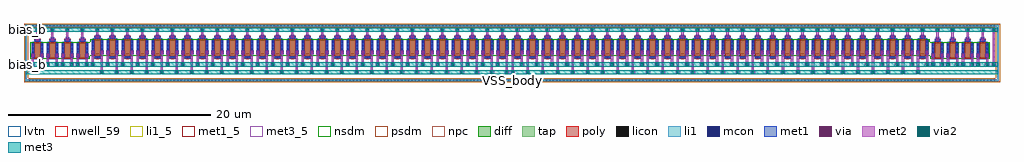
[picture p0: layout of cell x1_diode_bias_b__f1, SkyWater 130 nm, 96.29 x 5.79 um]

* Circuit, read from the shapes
.subckt x1_diode_bias_b__f1 VSS_body bias_b bias_c
XM1 bias_b bias_b bias_b VSS_body sky130_fd_pr__nfet_01v8_lvt w=1.4 l=0.6 m=8
XM2 bias_c bias_b bias_b VSS_body sky130_fd_pr__nfet_01v8_lvt w=1.4 l=0.6 m=56
.ends

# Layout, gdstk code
from math import pi, radians
import gdstk
lib = gdstk.Library(unit=1e-6, precision=1e-09)
def R(c, l, rs):  # rectangles x0, y0, x1, y1
    for r in rs: c.add(gdstk.rectangle(r[:2], r[2:], *l))
def A(c, l, x, y, w, h, nx, ny, dx, dy):  # array of equal rectangles
    R(c, l, [(x+i*dx, y+j*dy, x+i*dx+w, y+j*dy+h) for i in range(nx) for j in range(ny)])
nwell_59 = (64, 59)
diff = (65, 20)
tap = (65, 44)
poly = (66, 20)
licon = (66, 44)
li1_5 = (67, 5)
li1 = (67, 20)
mcon = (67, 44)
met1_5 = (68, 5)
met1 = (68, 20)
via = (68, 44)
met2 = (69, 20)
via2 = (69, 44)
met3_5 = (70, 5)
met3 = (70, 20)
nsdm = (93, 44)
psdm = (94, 20)
npc = (95, 20)
lvtn = (125, 44)

sky130_fd_pr__nfet_01v8_ = lib.new_cell('sky130_fd_pr__nfet_01v8_lvt_RUA5M6')
R(sky130_fd_pr__nfet_01v8_, diff, [(-0.59,-0.855,0.59,0.545)])
R(sky130_fd_pr__nfet_01v8_, poly, [(-0.3,-0.985,0.3,0.985)])
A(sky130_fd_pr__nfet_01v8_, licon, -0.53, -0.75, 0.17, 0.17, 1, 4, 0, 0.34)
A(sky130_fd_pr__nfet_01v8_, licon, 0.36, -0.75, 0.17, 0.17, 1, 4, 0, 0.34)
R(sky130_fd_pr__nfet_01v8_, licon, [(-0.085,0.735,0.085,0.905)])
R(sky130_fd_pr__nfet_01v8_, li1, [(-0.53,-0.875,-0.36,0.565), (0.36,-0.875,0.53,0.565), (-0.3,0.735,0.3,0.905)])
A(sky130_fd_pr__nfet_01v8_, mcon, -0.53, -0.78, 0.17, 0.17, 1, 4, 0, 0.36)
A(sky130_fd_pr__nfet_01v8_, mcon, 0.36, -0.78, 0.17, 0.17, 1, 4, 0, 0.36)
R(sky130_fd_pr__nfet_01v8_, mcon, [(-0.085,0.735,0.085,0.905)])
R(sky130_fd_pr__nfet_01v8_, met1, [(-0.56,-0.855,-0.33,0.545), (0.33,-0.855,0.56,0.545), (-0.28,0.705,0.28,0.935)])
R(sky130_fd_pr__nfet_01v8_, nsdm, [(-0.715,-0.98,0.715,0.67)])
R(sky130_fd_pr__nfet_01v8_, npc, [(-0.185,0.635,0.185,1.005)])
R(sky130_fd_pr__nfet_01v8_, lvtn, [(-0.48,-1.035,0.48,0.725)])
sky130_fd_pr__nfet_01v8_.add(gdstk.Label('D', (-0.445,-0.155), layer=67, texttype=5))
sky130_fd_pr__nfet_01v8_.add(gdstk.Label('S', (0.445,-0.155), layer=67, texttype=5))
sky130_fd_pr__nfet_01v8_.add(gdstk.Label('G', (0,0.82), layer=67, texttype=5))

nfet_01v8_lvt_w1p4_l0p6_ = lib.new_cell('nfet_01v8_lvt_W1p4_L0p6_m8__nf1_gtop_sdfull_ng')
R(nfet_01v8_lvt_w1p4_l0p6_, nwell_59, [(0.05,0.78,0.15,0.88)])
R(nfet_01v8_lvt_w1p4_l0p6_, met1_5, [(0.03,0.83,0.26,1.03), (0.92,0.83,1.15,1.03), (0.31,1.69,0.87,1.92)])
R(nfet_01v8_lvt_w1p4_l0p6_, met1, [(0.03,0.83,0.26,1.03), (0.92,0.83,1.15,1.03), (0.31,1.69,0.87,1.92)])
nfet_01v8_lvt_w1p4_l0p6_.add(gdstk.Reference(sky130_fd_pr__nfet_01v8_, (0.59,0.985)))
nfet_01v8_lvt_w1p4_l0p6_.add(gdstk.Label('D', (0.145,0.93), layer=68, texttype=5))
nfet_01v8_lvt_w1p4_l0p6_.add(gdstk.Label('S', (1.035,0.93), layer=68, texttype=5))
nfet_01v8_lvt_w1p4_l0p6_.add(gdstk.Label('G', (0.59,1.805), layer=68, texttype=5))
nfet_01v8_lvt_w1p4_l0p6_.add(gdstk.Label('B', (0.1,0.83), layer=64, texttype=59))

c_sky130_fd_pr__nfet_01v8_ = lib.new_cell('sky130_fd_pr__nfet_01v8_lvt_KCM6UP')
R(c_sky130_fd_pr__nfet_01v8_, diff, [(-0.59,-0.7,0.59,0.7)])
R(c_sky130_fd_pr__nfet_01v8_, poly, [(-0.3,-1.14,0.3,1.14)])
A(c_sky130_fd_pr__nfet_01v8_, licon, -0.53, -0.595, 0.17, 0.17, 1, 4, 0, 0.34)
A(c_sky130_fd_pr__nfet_01v8_, licon, 0.36, -0.595, 0.17, 0.17, 1, 4, 0, 0.34)
R(c_sky130_fd_pr__nfet_01v8_, licon, [(-0.085,-1.06,0.085,-0.89), (-0.085,0.89,0.085,1.06)])
R(c_sky130_fd_pr__nfet_01v8_, li1, [(-0.3,-1.06,0.3,-0.89), (-0.53,-0.72,-0.36,0.72), (0.36,-0.72,0.53,0.72), (-0.3,0.89,0.3,1.06)])
A(c_sky130_fd_pr__nfet_01v8_, mcon, -0.53, -0.625, 0.17, 0.17, 1, 4, 0, 0.36)
A(c_sky130_fd_pr__nfet_01v8_, mcon, 0.36, -0.625, 0.17, 0.17, 1, 4, 0, 0.36)
R(c_sky130_fd_pr__nfet_01v8_, mcon, [(-0.085,-1.06,0.085,-0.89), (-0.085,0.89,0.085,1.06)])
R(c_sky130_fd_pr__nfet_01v8_, met1, [(-0.28,-1.09,0.28,-0.86), (-0.56,-0.7,-0.33,0.7), (0.33,-0.7,0.56,0.7), (-0.28,0.86,0.28,1.09)])
R(c_sky130_fd_pr__nfet_01v8_, nsdm, [(-0.715,-0.825,0.715,0.825)])
R(c_sky130_fd_pr__nfet_01v8_, npc, [(-0.185,-1.16,0.185,-0.79), (-0.185,0.79,0.185,1.16)])
R(c_sky130_fd_pr__nfet_01v8_, lvtn, [(-0.48,-0.88,0.48,0.88)])
c_sky130_fd_pr__nfet_01v8_.add(gdstk.Label('D', (-0.445,0), layer=67, texttype=5))
c_sky130_fd_pr__nfet_01v8_.add(gdstk.Label('S', (0.445,0), layer=67, texttype=5))
c_sky130_fd_pr__nfet_01v8_.add(gdstk.Label('G', (0,0.975), layer=67, texttype=5))

c_nfet_01v8_lvt_w1p4_l0p6_ = lib.new_cell('nfet_01v8_lvt_W1p4_L0p6_m56__nf1_gboth_sdfull_ng')
R(c_nfet_01v8_lvt_w1p4_l0p6_, nwell_59, [(0.05,1.09,0.15,1.19)])
R(c_nfet_01v8_lvt_w1p4_l0p6_, met1_5, [(0.03,1.14,0.26,1.34), (0.92,1.14,1.15,1.34), (0.31,2,0.87,2.23)])
R(c_nfet_01v8_lvt_w1p4_l0p6_, met1, [(0.03,1.14,0.26,1.34), (0.92,1.14,1.15,1.34), (0.31,2,0.87,2.23)])
c_nfet_01v8_lvt_w1p4_l0p6_.add(gdstk.Reference(c_sky130_fd_pr__nfet_01v8_, (0.59,1.14)))
c_nfet_01v8_lvt_w1p4_l0p6_.add(gdstk.Label('D', (0.145,1.24), layer=68, texttype=5))
c_nfet_01v8_lvt_w1p4_l0p6_.add(gdstk.Label('S', (1.035,1.24), layer=68, texttype=5))
c_nfet_01v8_lvt_w1p4_l0p6_.add(gdstk.Label('G', (0.59,2.115), layer=68, texttype=5))
c_nfet_01v8_lvt_w1p4_l0p6_.add(gdstk.Label('B', (0.1,1.14), layer=64, texttype=59))

x1_diode_bias_b__f1 = lib.new_cell('x1_diode_bias_b__f1')
R(x1_diode_bias_b__f1, tap, [(-0.485,-2.185,95.555,-2.015), (-0.485,-2.015,-0.315,3.185), (95.385,-2.015,95.555,3.185), (-0.485,3.185,95.555,3.355)])
A(x1_diode_bias_b__f1, licon, -0.15, -2.185, 0.17, 0.17, 281, 2, 0.34, 5.37)
A(x1_diode_bias_b__f1, licon, -0.485, -1.88, 0.17, 0.17, 1, 15, 0, 0.34)
A(x1_diode_bias_b__f1, licon, 95.385, -1.88, 0.17, 0.17, 1, 15, 0, 0.34)
R(x1_diode_bias_b__f1, li1_5, [(47.485,-2.15,47.585,-2.05)])
R(x1_diode_bias_b__f1, li1, [(-0.485,-2.185,95.555,-2.015), (-0.485,-2.015,-0.315,3.185), (95.385,-2.015,95.555,3.185), (-0.485,3.185,95.555,3.355)])
A(x1_diode_bias_b__f1, met1, 0.535, 1.77, 0.36, 0.36, 4, 1, 1.48, 0)
A(x1_diode_bias_b__f1, met1, 89.335, 1.77, 0.36, 0.36, 4, 1, 1.48, 0)
A(x1_diode_bias_b__f1, met1, 6.455, 2.05, 0.36, 0.36, 56, 1, 1.48, 0)
R(x1_diode_bias_b__f1, met1, [(0.09,0.18,0.45,0.54), (0.98,0.18,1.34,0.54), (1.57,0.18,1.93,0.54), (2.46,0.18,2.82,0.54), (3.05,0.18,3.41,0.54), (3.94,0.18,4.3,0.54), (4.53,0.18,4.89,0.54), (5.42,0.18,5.78,0.54), (88.89,0.18,89.25,0.54), (89.78,0.18,90.14,0.54), (90.37,0.18,90.73,0.54), (91.26,0.18,91.62,0.54), (91.85,0.18,92.21,0.54), (92.74,0.18,93.1,0.54), (93.33,0.18,93.69,0.54), (94.22,0.18,94.58,0.54), (6.01,0.46,6.37,0.82), (6.9,0.46,7.26,0.82), (7.49,0.46,7.85,0.82), (8.38,0.46,8.74,0.82), (8.97,0.46,9.33,0.82), (9.86,0.46,10.22,0.82), (10.45,0.46,10.81,0.82), (11.34,0.46,11.7,0.82), (11.93,0.46,12.29,0.82), (12.82,0.46,13.18,0.82), (13.41,0.46,13.77,0.82), (14.3,0.46,14.66,0.82), (14.89,0.46,15.25,0.82), (15.78,0.46,16.14,0.82), (16.37,0.46,16.73,0.82), (17.26,0.46,17.62,0.82), (17.85,0.46,18.21,0.82), (18.74,0.46,19.1,0.82), (19.33,0.46,19.69,0.82), (20.22,0.46,20.58,0.82), (20.81,0.46,21.17,0.82), (21.7,0.46,22.06,0.82), (22.29,0.46,22.65,0.82), (23.18,0.46,23.54,0.82), (23.77,0.46,24.13,0.82), (24.66,0.46,25.02,0.82), (25.25,0.46,25.61,0.82), (26.14,0.46,26.5,0.82), (26.73,0.46,27.09,0.82), (27.62,0.46,27.98,0.82), (28.21,0.46,28.57,0.82), (29.1,0.46,29.46,0.82), (29.69,0.46,30.05,0.82), (30.58,0.46,30.94,0.82), (31.17,0.46,31.53,0.82), (32.06,0.46,32.42,0.82), (32.65,0.46,33.01,0.82), (33.54,0.46,33.9,0.82), (34.13,0.46,34.49,0.82), (35.02,0.46,35.38,0.82), (35.61,0.46,35.97,0.82), (36.5,0.46,36.86,0.82), (37.09,0.46,37.45,0.82), (37.98,0.46,38.34,0.82), (38.57,0.46,38.93,0.82), (39.46,0.46,39.82,0.82), (40.05,0.46,40.41,0.82), (40.94,0.46,41.3,0.82), (41.53,0.46,41.89,0.82), (42.42,0.46,42.78,0.82), (43.01,0.46,43.37,0.82), (43.9,0.46,44.26,0.82), (44.49,0.46,44.85,0.82), (45.38,0.46,45.74,0.82), (45.97,0.46,46.33,0.82), (46.86,0.46,47.22,0.82), (47.45,0.46,47.81,0.82), (48.34,0.46,48.7,0.82), (48.93,0.46,49.29,0.82), (49.82,0.46,50.18,0.82), (50.41,0.46,50.77,0.82), (51.3,0.46,51.66,0.82), (51.89,0.46,52.25,0.82), (52.78,0.46,53.14,0.82), (53.37,0.46,53.73,0.82), (54.26,0.46,54.62,0.82), (54.85,0.46,55.21,0.82), (55.74,0.46,56.1,0.82), (56.33,0.46,56.69,0.82), (57.22,0.46,57.58,0.82), (57.81,0.46,58.17,0.82), (58.7,0.46,59.06,0.82), (59.29,0.46,59.65,0.82), (60.18,0.46,60.54,0.82), (60.77,0.46,61.13,0.82), (61.66,0.46,62.02,0.82), (62.25,0.46,62.61,0.82), (63.14,0.46,63.5,0.82), (63.73,0.46,64.09,0.82), (64.62,0.46,64.98,0.82), (65.21,0.46,65.57,0.82), (66.1,0.46,66.46,0.82), (66.69,0.46,67.05,0.82), (67.58,0.46,67.94,0.82), (68.17,0.46,68.53,0.82), (69.06,0.46,69.42,0.82), (69.65,0.46,70.01,0.82), (70.54,0.46,70.9,0.82), (71.13,0.46,71.49,0.82), (72.02,0.46,72.38,0.82), (72.61,0.46,72.97,0.82), (73.5,0.46,73.86,0.82), (74.09,0.46,74.45,0.82), (74.98,0.46,75.34,0.82), (75.57,0.46,75.93,0.82), (76.46,0.46,76.82,0.82), (77.05,0.46,77.41,0.82), (77.94,0.46,78.3,0.82), (78.53,0.46,78.89,0.82), (79.42,0.46,79.78,0.82), (80.01,0.46,80.37,0.82), (80.9,0.46,81.26,0.82), (81.49,0.46,81.85,0.82), (82.38,0.46,82.74,0.82), (82.97,0.46,83.33,0.82), (83.86,0.46,84.22,0.82), (84.45,0.46,84.81,0.82), (85.34,0.46,85.7,0.82), (85.93,0.46,86.29,0.82), (86.82,0.46,87.18,0.82), (87.41,0.46,87.77,0.82), (88.3,0.46,88.66,0.82)])
A(x1_diode_bias_b__f1, via, 0.64, 1.875, 0.15, 0.15, 4, 1, 1.48, 0)
A(x1_diode_bias_b__f1, via, 89.44, 1.875, 0.15, 0.15, 4, 1, 1.48, 0)
A(x1_diode_bias_b__f1, via, 6.56, 2.155, 0.15, 0.15, 56, 1, 1.48, 0)
R(x1_diode_bias_b__f1, via, [(0.195,0.285,0.345,0.435), (1.085,0.285,1.235,0.435), (1.675,0.285,1.825,0.435), (2.565,0.285,2.715,0.435), (3.155,0.285,3.305,0.435), (4.045,0.285,4.195,0.435), (4.635,0.285,4.785,0.435), (5.525,0.285,5.675,0.435), (88.995,0.285,89.145,0.435), (89.885,0.285,90.035,0.435), (90.475,0.285,90.625,0.435), (91.365,0.285,91.515,0.435), (91.955,0.285,92.105,0.435), (92.845,0.285,92.995,0.435), (93.435,0.285,93.585,0.435), (94.325,0.285,94.475,0.435), (6.115,0.565,6.265,0.715), (7.005,0.565,7.155,0.715), (7.595,0.565,7.745,0.715), (8.485,0.565,8.635,0.715), (9.075,0.565,9.225,0.715), (9.965,0.565,10.115,0.715), (10.555,0.565,10.705,0.715), (11.445,0.565,11.595,0.715), (12.035,0.565,12.185,0.715), (12.925,0.565,13.075,0.715), (13.515,0.565,13.665,0.715), (14.405,0.565,14.555,0.715), (14.995,0.565,15.145,0.715), (15.885,0.565,16.035,0.715), (16.475,0.565,16.625,0.715), (17.365,0.565,17.515,0.715), (17.955,0.565,18.105,0.715), (18.845,0.565,18.995,0.715), (19.435,0.565,19.585,0.715), (20.325,0.565,20.475,0.715), (20.915,0.565,21.065,0.715), (21.805,0.565,21.955,0.715), (22.395,0.565,22.545,0.715), (23.285,0.565,23.435,0.715), (23.875,0.565,24.025,0.715), (24.765,0.565,24.915,0.715), (25.355,0.565,25.505,0.715), (26.245,0.565,26.395,0.715), (26.835,0.565,26.985,0.715), (27.725,0.565,27.875,0.715), (28.315,0.565,28.465,0.715), (29.205,0.565,29.355,0.715), (29.795,0.565,29.945,0.715), (30.685,0.565,30.835,0.715), (31.275,0.565,31.425,0.715), (32.165,0.565,32.315,0.715), (32.755,0.565,32.905,0.715), (33.645,0.565,33.795,0.715), (34.235,0.565,34.385,0.715), (35.125,0.565,35.275,0.715), (35.715,0.565,35.865,0.715), (36.605,0.565,36.755,0.715), (37.195,0.565,37.345,0.715), (38.085,0.565,38.235,0.715), (38.675,0.565,38.825,0.715), (39.565,0.565,39.715,0.715), (40.155,0.565,40.305,0.715), (41.045,0.565,41.195,0.715), (41.635,0.565,41.785,0.715), (42.525,0.565,42.675,0.715), (43.115,0.565,43.265,0.715), (44.005,0.565,44.155,0.715), (44.595,0.565,44.745,0.715), (45.485,0.565,45.635,0.715), (46.075,0.565,46.225,0.715), (46.965,0.565,47.115,0.715), (47.555,0.565,47.705,0.715), (48.445,0.565,48.595,0.715), (49.035,0.565,49.185,0.715), (49.925,0.565,50.075,0.715), (50.515,0.565,50.665,0.715), (51.405,0.565,51.555,0.715), (51.995,0.565,52.145,0.715), (52.885,0.565,53.035,0.715), (53.475,0.565,53.625,0.715), (54.365,0.565,54.515,0.715), (54.955,0.565,55.105,0.715), (55.845,0.565,55.995,0.715), (56.435,0.565,56.585,0.715), (57.325,0.565,57.475,0.715), (57.915,0.565,58.065,0.715), (58.805,0.565,58.955,0.715), (59.395,0.565,59.545,0.715), (60.285,0.565,60.435,0.715), (60.875,0.565,61.025,0.715), (61.765,0.565,61.915,0.715), (62.355,0.565,62.505,0.715), (63.245,0.565,63.395,0.715), (63.835,0.565,63.985,0.715), (64.725,0.565,64.875,0.715), (65.315,0.565,65.465,0.715), (66.205,0.565,66.355,0.715), (66.795,0.565,66.945,0.715), (67.685,0.565,67.835,0.715), (68.275,0.565,68.425,0.715), (69.165,0.565,69.315,0.715), (69.755,0.565,69.905,0.715), (70.645,0.565,70.795,0.715), (71.235,0.565,71.385,0.715), (72.125,0.565,72.275,0.715), (72.715,0.565,72.865,0.715), (73.605,0.565,73.755,0.715), (74.195,0.565,74.345,0.715), (75.085,0.565,75.235,0.715), (75.675,0.565,75.825,0.715), (76.565,0.565,76.715,0.715), (77.155,0.565,77.305,0.715), (78.045,0.565,78.195,0.715), (78.635,0.565,78.785,0.715), (79.525,0.565,79.675,0.715), (80.115,0.565,80.265,0.715), (81.005,0.565,81.155,0.715), (81.595,0.565,81.745,0.715), (82.485,0.565,82.635,0.715), (83.075,0.565,83.225,0.715), (83.965,0.565,84.115,0.715), (84.555,0.565,84.705,0.715), (85.445,0.565,85.595,0.715), (86.035,0.565,86.185,0.715), (86.925,0.565,87.075,0.715), (87.515,0.565,87.665,0.715), (88.405,0.565,88.555,0.715)])
A(x1_diode_bias_b__f1, met2, 6.88, -1.5, 0.4, 0.4, 28, 1, 1.48, 0)
A(x1_diode_bias_b__f1, met2, 47.43, -1.5, 0.4, 0.4, 28, 1, 1.48, 0)
A(x1_diode_bias_b__f1, met2, 6.98, -1.1, 0.2, 1.58, 28, 1, 1.48, 0)
A(x1_diode_bias_b__f1, met2, 47.53, -1.1, 0.2, 1.58, 28, 1, 1.48, 0)
A(x1_diode_bias_b__f1, met2, 5.99, -0.75, 0.4, 0.4, 28, 1, 1.48, 0)
A(x1_diode_bias_b__f1, met2, 48.32, -0.75, 0.4, 0.4, 28, 1, 1.48, 0)
A(x1_diode_bias_b__f1, met2, 6.09, -0.35, 0.2, 0.83, 28, 1, 1.48, 0)
A(x1_diode_bias_b__f1, met2, 48.42, -0.35, 0.2, 0.83, 28, 1, 1.48, 0)
A(x1_diode_bias_b__f1, met2, 0.585, 1.79, 0.26, 0.32, 4, 1, 1.48, 0)
A(x1_diode_bias_b__f1, met2, 89.385, 1.79, 0.26, 0.32, 4, 1, 1.48, 0)
A(x1_diode_bias_b__f1, met2, 6.505, 2.07, 0.26, 0.32, 56, 1, 1.48, 0)
A(x1_diode_bias_b__f1, met2, 0.615, 2.11, 0.2, 0.56, 4, 1, 1.48, 0)
A(x1_diode_bias_b__f1, met2, 89.415, 2.11, 0.2, 0.56, 4, 1, 1.48, 0)
A(x1_diode_bias_b__f1, met2, 6.535, 2.39, 0.2, 0.28, 56, 1, 1.48, 0)
A(x1_diode_bias_b__f1, met2, 0.515, 2.67, 0.4, 0.4, 64, 1, 1.48, 0)
R(x1_diode_bias_b__f1, met2, [(0.07,-0.75,0.47,-0.35), (0.96,-0.75,1.36,-0.35), (1.55,-0.75,1.95,-0.35), (2.44,-0.75,2.84,-0.35), (3.03,-0.75,3.43,-0.35), (3.92,-0.75,4.32,-0.35), (4.51,-0.75,4.91,-0.35), (5.4,-0.75,5.8,-0.35), (88.87,-0.75,89.27,-0.35), (89.76,-0.75,90.16,-0.35), (90.35,-0.75,90.75,-0.35), (91.24,-0.75,91.64,-0.35), (91.83,-0.75,92.23,-0.35), (92.72,-0.75,93.12,-0.35), (93.31,-0.75,93.71,-0.35), (94.2,-0.75,94.6,-0.35), (94.87,-0.75,95.27,-0.35), (0.17,-0.35,0.37,0.2), (1.06,-0.35,1.26,0.2), (1.65,-0.35,1.85,0.2), (2.54,-0.35,2.74,0.2), (3.13,-0.35,3.33,0.2), (4.02,-0.35,4.22,0.2), (4.61,-0.35,4.81,0.2), (5.5,-0.35,5.7,0.2), (88.97,-0.35,89.17,0.2), (89.86,-0.35,90.06,0.2), (90.45,-0.35,90.65,0.2), (91.34,-0.35,91.54,0.2), (91.93,-0.35,92.13,0.2), (92.82,-0.35,93.02,0.2), (93.41,-0.35,93.61,0.2), (94.3,-0.35,94.5,0.2), (94.97,-0.35,95.17,2.67), (0.14,0.2,0.4,0.52), (1.03,0.2,1.29,0.52), (1.62,0.2,1.88,0.52), (2.51,0.2,2.77,0.52), (3.1,0.2,3.36,0.52), (3.99,0.2,4.25,0.52), (4.58,0.2,4.84,0.52), (5.47,0.2,5.73,0.52), (88.94,0.2,89.2,0.52), (89.83,0.2,90.09,0.52), (90.42,0.2,90.68,0.52), (91.31,0.2,91.57,0.52), (91.9,0.2,92.16,0.52), (92.79,0.2,93.05,0.52), (93.38,0.2,93.64,0.52), (94.27,0.2,94.53,0.52), (6.06,0.48,6.32,0.8), (6.95,0.48,7.21,0.8), (7.54,0.48,7.8,0.8), (8.43,0.48,8.69,0.8), (9.02,0.48,9.28,0.8), (9.91,0.48,10.17,0.8), (10.5,0.48,10.76,0.8), (11.39,0.48,11.65,0.8), (11.98,0.48,12.24,0.8), (12.87,0.48,13.13,0.8), (13.46,0.48,13.72,0.8), (14.35,0.48,14.61,0.8), (14.94,0.48,15.2,0.8), (15.83,0.48,16.09,0.8), (16.42,0.48,16.68,0.8), (17.31,0.48,17.57,0.8), (17.9,0.48,18.16,0.8), (18.79,0.48,19.05,0.8), (19.38,0.48,19.64,0.8), (20.27,0.48,20.53,0.8), (20.86,0.48,21.12,0.8), (21.75,0.48,22.01,0.8), (22.34,0.48,22.6,0.8), (23.23,0.48,23.49,0.8), (23.82,0.48,24.08,0.8), (24.71,0.48,24.97,0.8), (25.3,0.48,25.56,0.8), (26.19,0.48,26.45,0.8), (26.78,0.48,27.04,0.8), (27.67,0.48,27.93,0.8), (28.26,0.48,28.52,0.8), (29.15,0.48,29.41,0.8), (29.74,0.48,30,0.8), (30.63,0.48,30.89,0.8), (31.22,0.48,31.48,0.8), (32.11,0.48,32.37,0.8), (32.7,0.48,32.96,0.8), (33.59,0.48,33.85,0.8), (34.18,0.48,34.44,0.8), (35.07,0.48,35.33,0.8), (35.66,0.48,35.92,0.8), (36.55,0.48,36.81,0.8), (37.14,0.48,37.4,0.8), (38.03,0.48,38.29,0.8), (38.62,0.48,38.88,0.8), (39.51,0.48,39.77,0.8), (40.1,0.48,40.36,0.8), (40.99,0.48,41.25,0.8), (41.58,0.48,41.84,0.8), (42.47,0.48,42.73,0.8), (43.06,0.48,43.32,0.8), (43.95,0.48,44.21,0.8), (44.54,0.48,44.8,0.8), (45.43,0.48,45.69,0.8), (46.02,0.48,46.28,0.8), (46.91,0.48,47.17,0.8), (47.5,0.48,47.76,0.8), (48.39,0.48,48.65,0.8), (48.98,0.48,49.24,0.8), (49.87,0.48,50.13,0.8), (50.46,0.48,50.72,0.8), (51.35,0.48,51.61,0.8), (51.94,0.48,52.2,0.8), (52.83,0.48,53.09,0.8), (53.42,0.48,53.68,0.8), (54.31,0.48,54.57,0.8), (54.9,0.48,55.16,0.8), (55.79,0.48,56.05,0.8), (56.38,0.48,56.64,0.8), (57.27,0.48,57.53,0.8), (57.86,0.48,58.12,0.8), (58.75,0.48,59.01,0.8), (59.34,0.48,59.6,0.8), (60.23,0.48,60.49,0.8), (60.82,0.48,61.08,0.8), (61.71,0.48,61.97,0.8), (62.3,0.48,62.56,0.8), (63.19,0.48,63.45,0.8), (63.78,0.48,64.04,0.8), (64.67,0.48,64.93,0.8), (65.26,0.48,65.52,0.8), (66.15,0.48,66.41,0.8), (66.74,0.48,67,0.8), (67.63,0.48,67.89,0.8), (68.22,0.48,68.48,0.8), (69.11,0.48,69.37,0.8), (69.7,0.48,69.96,0.8), (70.59,0.48,70.85,0.8), (71.18,0.48,71.44,0.8), (72.07,0.48,72.33,0.8), (72.66,0.48,72.92,0.8), (73.55,0.48,73.81,0.8), (74.14,0.48,74.4,0.8), (75.03,0.48,75.29,0.8), (75.62,0.48,75.88,0.8), (76.51,0.48,76.77,0.8), (77.1,0.48,77.36,0.8), (77.99,0.48,78.25,0.8), (78.58,0.48,78.84,0.8), (79.47,0.48,79.73,0.8), (80.06,0.48,80.32,0.8), (80.95,0.48,81.21,0.8), (81.54,0.48,81.8,0.8), (82.43,0.48,82.69,0.8), (83.02,0.48,83.28,0.8), (83.91,0.48,84.17,0.8), (84.5,0.48,84.76,0.8), (85.39,0.48,85.65,0.8), (85.98,0.48,86.24,0.8), (86.87,0.48,87.13,0.8), (87.46,0.48,87.72,0.8), (88.35,0.48,88.61,0.8), (94.87,2.67,95.27,3.07)])
A(x1_diode_bias_b__f1, via2, 6.98, -1.4, 0.2, 0.2, 28, 1, 1.48, 0)
A(x1_diode_bias_b__f1, via2, 47.53, -1.4, 0.2, 0.2, 28, 1, 1.48, 0)
A(x1_diode_bias_b__f1, via2, 6.09, -0.65, 0.2, 0.2, 28, 1, 1.48, 0)
A(x1_diode_bias_b__f1, via2, 48.42, -0.65, 0.2, 0.2, 28, 1, 1.48, 0)
A(x1_diode_bias_b__f1, via2, 0.615, 2.77, 0.2, 0.2, 64, 1, 1.48, 0)
R(x1_diode_bias_b__f1, via2, [(0.17,-0.65,0.37,-0.45), (1.06,-0.65,1.26,-0.45), (1.65,-0.65,1.85,-0.45), (2.54,-0.65,2.74,-0.45), (3.13,-0.65,3.33,-0.45), (4.02,-0.65,4.22,-0.45), (4.61,-0.65,4.81,-0.45), (5.5,-0.65,5.7,-0.45), (88.97,-0.65,89.17,-0.45), (89.86,-0.65,90.06,-0.45), (90.45,-0.65,90.65,-0.45), (91.34,-0.65,91.54,-0.45), (91.93,-0.65,92.13,-0.45), (92.82,-0.65,93.02,-0.45), (93.41,-0.65,93.61,-0.45), (94.3,-0.65,94.5,-0.45), (94.97,-0.65,95.17,-0.45), (94.97,2.77,95.17,2.97)])
R(x1_diode_bias_b__f1, met3_5, [(-0.3,-1.35,-0.2,-1.25), (-0.3,-0.6,-0.2,-0.5), (-0.3,2.82,-0.2,2.92)])
R(x1_diode_bias_b__f1, met3, [(-0.4,-1.5,95.47,-1.1), (-0.4,-0.75,95.47,-0.35), (-0.4,2.67,95.47,3.07)])
A(x1_diode_bias_b__f1, nsdm, 1.435, 0.005, 0.05, 1.65, 3, 1, 1.48, 0)
A(x1_diode_bias_b__f1, nsdm, 90.235, 0.005, 0.05, 1.65, 3, 1, 1.48, 0)
A(x1_diode_bias_b__f1, nsdm, 7.355, 0.315, 0.05, 1.65, 55, 1, 1.48, 0)
R(x1_diode_bias_b__f1, nsdm, [(5.875,0.315,5.925,1.655), (88.755,0.315,88.805,1.655)])
R(x1_diode_bias_b__f1, psdm, [(-0.61,-2.31,95.68,-1.89), (-0.61,-1.89,-0.19,3.06), (95.26,-1.89,95.68,3.06), (-0.61,3.06,95.68,3.48)])
x1_diode_bias_b__f1.add(gdstk.Reference(nfet_01v8_lvt_w1p4_l0p6_, (93.37,0)))
x1_diode_bias_b__f1.add(gdstk.Reference(nfet_01v8_lvt_w1p4_l0p6_, (91.89,0)))
x1_diode_bias_b__f1.add(gdstk.Reference(nfet_01v8_lvt_w1p4_l0p6_, (90.41,0)))
x1_diode_bias_b__f1.add(gdstk.Reference(nfet_01v8_lvt_w1p4_l0p6_, (88.93,0)))
x1_diode_bias_b__f1.add(gdstk.Reference(c_nfet_01v8_lvt_w1p4_l0p6_, (88.63,0), rotation=pi, x_reflection=True))
x1_diode_bias_b__f1.add(gdstk.Reference(c_nfet_01v8_lvt_w1p4_l0p6_, (87.15,0), rotation=pi, x_reflection=True))
x1_diode_bias_b__f1.add(gdstk.Reference(c_nfet_01v8_lvt_w1p4_l0p6_, (85.67,0), rotation=pi, x_reflection=True))
x1_diode_bias_b__f1.add(gdstk.Reference(c_nfet_01v8_lvt_w1p4_l0p6_, (84.19,0), rotation=pi, x_reflection=True))
x1_diode_bias_b__f1.add(gdstk.Reference(c_nfet_01v8_lvt_w1p4_l0p6_, (82.71,0), rotation=pi, x_reflection=True))
x1_diode_bias_b__f1.add(gdstk.Reference(c_nfet_01v8_lvt_w1p4_l0p6_, (81.23,0), rotation=pi, x_reflection=True))
x1_diode_bias_b__f1.add(gdstk.Reference(c_nfet_01v8_lvt_w1p4_l0p6_, (79.75,0), rotation=pi, x_reflection=True))
x1_diode_bias_b__f1.add(gdstk.Reference(c_nfet_01v8_lvt_w1p4_l0p6_, (78.27,0), rotation=pi, x_reflection=True))
x1_diode_bias_b__f1.add(gdstk.Reference(c_nfet_01v8_lvt_w1p4_l0p6_, (76.79,0), rotation=pi, x_reflection=True))
x1_diode_bias_b__f1.add(gdstk.Reference(c_nfet_01v8_lvt_w1p4_l0p6_, (75.31,0), rotation=pi, x_reflection=True))
x1_diode_bias_b__f1.add(gdstk.Reference(c_nfet_01v8_lvt_w1p4_l0p6_, (73.83,0), rotation=pi, x_reflection=True))
x1_diode_bias_b__f1.add(gdstk.Reference(c_nfet_01v8_lvt_w1p4_l0p6_, (72.35,0), rotation=pi, x_reflection=True))
x1_diode_bias_b__f1.add(gdstk.Reference(c_nfet_01v8_lvt_w1p4_l0p6_, (70.87,0), rotation=pi, x_reflection=True))
x1_diode_bias_b__f1.add(gdstk.Reference(c_nfet_01v8_lvt_w1p4_l0p6_, (69.39,0), rotation=pi, x_reflection=True))
x1_diode_bias_b__f1.add(gdstk.Reference(c_nfet_01v8_lvt_w1p4_l0p6_, (67.91,0), rotation=pi, x_reflection=True))
x1_diode_bias_b__f1.add(gdstk.Reference(c_nfet_01v8_lvt_w1p4_l0p6_, (66.43,0), rotation=pi, x_reflection=True))
x1_diode_bias_b__f1.add(gdstk.Reference(c_nfet_01v8_lvt_w1p4_l0p6_, (64.95,0), rotation=pi, x_reflection=True))
x1_diode_bias_b__f1.add(gdstk.Reference(c_nfet_01v8_lvt_w1p4_l0p6_, (63.47,0), rotation=pi, x_reflection=True))
x1_diode_bias_b__f1.add(gdstk.Reference(c_nfet_01v8_lvt_w1p4_l0p6_, (61.99,0), rotation=pi, x_reflection=True))
x1_diode_bias_b__f1.add(gdstk.Reference(c_nfet_01v8_lvt_w1p4_l0p6_, (60.51,0), rotation=pi, x_reflection=True))
x1_diode_bias_b__f1.add(gdstk.Reference(c_nfet_01v8_lvt_w1p4_l0p6_, (59.03,0), rotation=pi, x_reflection=True))
x1_diode_bias_b__f1.add(gdstk.Reference(c_nfet_01v8_lvt_w1p4_l0p6_, (57.55,0), rotation=pi, x_reflection=True))
x1_diode_bias_b__f1.add(gdstk.Reference(c_nfet_01v8_lvt_w1p4_l0p6_, (56.07,0), rotation=pi, x_reflection=True))
x1_diode_bias_b__f1.add(gdstk.Reference(c_nfet_01v8_lvt_w1p4_l0p6_, (54.59,0), rotation=pi, x_reflection=True))
x1_diode_bias_b__f1.add(gdstk.Reference(c_nfet_01v8_lvt_w1p4_l0p6_, (53.11,0), rotation=pi, x_reflection=True))
x1_diode_bias_b__f1.add(gdstk.Reference(c_nfet_01v8_lvt_w1p4_l0p6_, (51.63,0), rotation=pi, x_reflection=True))
x1_diode_bias_b__f1.add(gdstk.Reference(c_nfet_01v8_lvt_w1p4_l0p6_, (50.15,0), rotation=pi, x_reflection=True))
x1_diode_bias_b__f1.add(gdstk.Reference(c_nfet_01v8_lvt_w1p4_l0p6_, (48.67,0), rotation=pi, x_reflection=True))
x1_diode_bias_b__f1.add(gdstk.Reference(c_nfet_01v8_lvt_w1p4_l0p6_, (46.01,0)))
x1_diode_bias_b__f1.add(gdstk.Reference(c_nfet_01v8_lvt_w1p4_l0p6_, (44.53,0)))
x1_diode_bias_b__f1.add(gdstk.Reference(c_nfet_01v8_lvt_w1p4_l0p6_, (43.05,0)))
x1_diode_bias_b__f1.add(gdstk.Reference(c_nfet_01v8_lvt_w1p4_l0p6_, (41.57,0)))
x1_diode_bias_b__f1.add(gdstk.Reference(c_nfet_01v8_lvt_w1p4_l0p6_, (40.09,0)))
x1_diode_bias_b__f1.add(gdstk.Reference(c_nfet_01v8_lvt_w1p4_l0p6_, (38.61,0)))
x1_diode_bias_b__f1.add(gdstk.Reference(c_nfet_01v8_lvt_w1p4_l0p6_, (37.13,0)))
x1_diode_bias_b__f1.add(gdstk.Reference(c_nfet_01v8_lvt_w1p4_l0p6_, (35.65,0)))
x1_diode_bias_b__f1.add(gdstk.Reference(c_nfet_01v8_lvt_w1p4_l0p6_, (34.17,0)))
x1_diode_bias_b__f1.add(gdstk.Reference(c_nfet_01v8_lvt_w1p4_l0p6_, (32.69,0)))
x1_diode_bias_b__f1.add(gdstk.Reference(c_nfet_01v8_lvt_w1p4_l0p6_, (31.21,0)))
x1_diode_bias_b__f1.add(gdstk.Reference(c_nfet_01v8_lvt_w1p4_l0p6_, (29.73,0)))
x1_diode_bias_b__f1.add(gdstk.Reference(c_nfet_01v8_lvt_w1p4_l0p6_, (28.25,0)))
x1_diode_bias_b__f1.add(gdstk.Reference(c_nfet_01v8_lvt_w1p4_l0p6_, (26.77,0)))
x1_diode_bias_b__f1.add(gdstk.Reference(c_nfet_01v8_lvt_w1p4_l0p6_, (25.29,0)))
x1_diode_bias_b__f1.add(gdstk.Reference(c_nfet_01v8_lvt_w1p4_l0p6_, (23.81,0)))
x1_diode_bias_b__f1.add(gdstk.Reference(c_nfet_01v8_lvt_w1p4_l0p6_, (22.33,0)))
x1_diode_bias_b__f1.add(gdstk.Reference(c_nfet_01v8_lvt_w1p4_l0p6_, (20.85,0)))
x1_diode_bias_b__f1.add(gdstk.Reference(c_nfet_01v8_lvt_w1p4_l0p6_, (19.37,0)))
x1_diode_bias_b__f1.add(gdstk.Reference(c_nfet_01v8_lvt_w1p4_l0p6_, (17.89,0)))
x1_diode_bias_b__f1.add(gdstk.Reference(c_nfet_01v8_lvt_w1p4_l0p6_, (16.41,0)))
x1_diode_bias_b__f1.add(gdstk.Reference(c_nfet_01v8_lvt_w1p4_l0p6_, (14.93,0)))
x1_diode_bias_b__f1.add(gdstk.Reference(c_nfet_01v8_lvt_w1p4_l0p6_, (13.45,0)))
x1_diode_bias_b__f1.add(gdstk.Reference(c_nfet_01v8_lvt_w1p4_l0p6_, (11.97,0)))
x1_diode_bias_b__f1.add(gdstk.Reference(c_nfet_01v8_lvt_w1p4_l0p6_, (10.49,0)))
x1_diode_bias_b__f1.add(gdstk.Reference(c_nfet_01v8_lvt_w1p4_l0p6_, (9.01,0)))
x1_diode_bias_b__f1.add(gdstk.Reference(c_nfet_01v8_lvt_w1p4_l0p6_, (7.53,0)))
x1_diode_bias_b__f1.add(gdstk.Reference(c_nfet_01v8_lvt_w1p4_l0p6_, (6.05,0)))
x1_diode_bias_b__f1.add(gdstk.Reference(nfet_01v8_lvt_w1p4_l0p6_, (4.57,0)))
x1_diode_bias_b__f1.add(gdstk.Reference(nfet_01v8_lvt_w1p4_l0p6_, (3.09,0)))
x1_diode_bias_b__f1.add(gdstk.Reference(nfet_01v8_lvt_w1p4_l0p6_, (1.61,0)))
x1_diode_bias_b__f1.add(gdstk.Reference(nfet_01v8_lvt_w1p4_l0p6_, (0.13,0)))
x1_diode_bias_b__f1.add(gdstk.Label('bias_b', (-0.25,2.87), layer=70, texttype=5))
x1_diode_bias_b__f1.add(gdstk.Label('bias_b', (-0.25,-0.55), layer=70, texttype=5))
x1_diode_bias_b__f1.add(gdstk.Label('bias_c', (-0.25,-1.3), layer=70, texttype=5))
x1_diode_bias_b__f1.add(gdstk.Label('VSS_body', (47.535,-2.1), layer=67, texttype=5))

lib.write_gds('x1_diode_bias_b__f1.gds')
